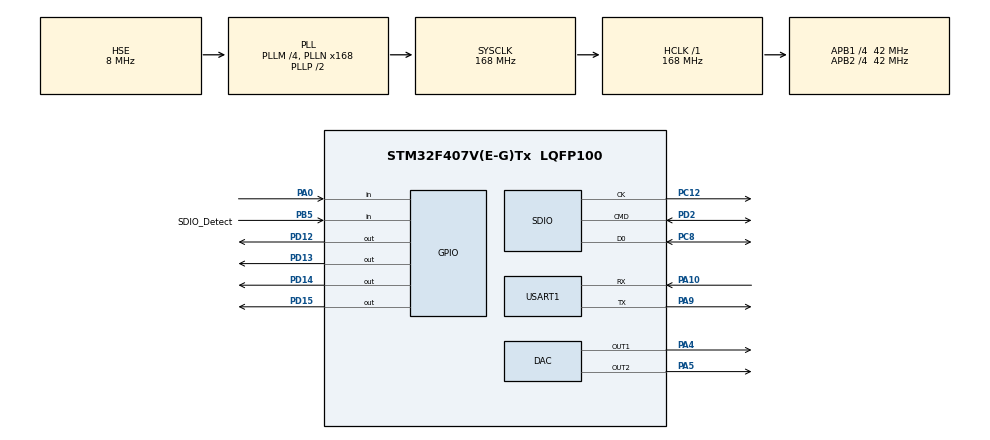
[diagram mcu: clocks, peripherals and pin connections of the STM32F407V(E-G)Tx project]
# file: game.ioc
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Dma.MEMTOMEM.0.Direction=DMA_MEMORY_TO_MEMORY
Dma.MEMTOMEM.0.FIFOMode=DMA_FIFOMODE_ENABLE
Dma.MEMTOMEM.0.FIFOThreshold=DMA_FIFO_THRESHOLD_FULL
Dma.MEMTOMEM.0.Instance=DMA2_Stream0
Dma.MEMTOMEM.0.MemBurst=DMA_MBURST_SINGLE
Dma.MEMTOMEM.0.MemDataAlignment=DMA_MDATAALIGN_BYTE
Dma.MEMTOMEM.0.MemInc=DMA_MINC_ENABLE
Dma.MEMTOMEM.0.Mode=DMA_NORMAL
Dma.MEMTOMEM.0.PeriphBurst=DMA_PBURST_SINGLE
Dma.MEMTOMEM.0.PeriphDataAlignment=DMA_PDATAALIGN_BYTE
Dma.MEMTOMEM.0.PeriphInc=DMA_PINC_ENABLE
Dma.MEMTOMEM.0.Priority=DMA_PRIORITY_MEDIUM
Dma.Request0=MEMTOMEM
Dma.Request1=SDIO_RX
Dma.Request2=SDIO_TX
Dma.SDIO_RX.1.Direction=DMA_PERIPH_TO_MEMORY
Dma.SDIO_RX.1.FIFOMode=DMA_FIFOMODE_ENABLE
Dma.SDIO_RX.1.FIFOThreshold=DMA_FIFO_THRESHOLD_FULL
Dma.SDIO_RX.1.Instance=DMA2_Stream3
Dma.SDIO_RX.1.MemBurst=DMA_MBURST_INC4
Dma.SDIO_RX.1.MemDataAlignment=DMA_MDATAALIGN_WORD
Dma.SDIO_RX.1.MemInc=DMA_MINC_ENABLE
Dma.SDIO_RX.1.Mode=DMA_PFCTRL
Dma.SDIO_RX.1.PeriphBurst=DMA_PBURST_INC4
Dma.SDIO_RX.1.PeriphDataAlignment=DMA_PDATAALIGN_WORD
Dma.SDIO_RX.1.PeriphInc=DMA_PINC_DISABLE
Dma.SDIO_RX.1.Priority=DMA_PRIORITY_LOW
Dma.SDIO_TX.2.Direction=DMA_MEMORY_TO_PERIPH
Dma.SDIO_TX.2.FIFOMode=DMA_FIFOMODE_ENABLE
Dma.SDIO_TX.2.FIFOThreshold=DMA_FIFO_THRESHOLD_FULL
Dma.SDIO_TX.2.Instance=DMA2_Stream6
Dma.SDIO_TX.2.MemBurst=DMA_MBURST_INC4
Dma.SDIO_TX.2.MemDataAlignment=DMA_MDATAALIGN_WORD
Dma.SDIO_TX.2.MemInc=DMA_MINC_ENABLE
Dma.SDIO_TX.2.Mode=DMA_PFCTRL
Dma.SDIO_TX.2.PeriphBurst=DMA_PBURST_INC4
Dma.SDIO_TX.2.PeriphDataAlignment=DMA_PDATAALIGN_WORD
Dma.SDIO_TX.2.PeriphInc=DMA_PINC_DISABLE
Dma.SDIO_TX.2.Priority=DMA_PRIORITY_LOW
FREERTOS.Tasks01=defaultTask,24,128,StartDefaultTask,Default,NULL,Dynamic,NULL,NULL
Mcu.Family=STM32F4
Mcu.Name=STM32F407V(E-G)Tx
Mcu.Package=LQFP100
NVIC.DMA2_Stream3_IRQn=true\:5\:0\:false\:false\:true\:true\:false\:true
NVIC.DMA2_Stream6_IRQn=true\:5\:0\:false\:false\:true\:true\:false\:true
NVIC.PriorityGroup=NVIC_PRIORITYGROUP_4
NVIC.SDIO_IRQn=true\:5\:0\:false\:false\:true\:true\:true\:true
NVIC.TIM6_DAC_IRQn=true\:0\:0\:false\:false\:true\:false\:true\:true
NVIC.TIM7_IRQn=true\:5\:0\:false\:false\:true\:true\:true\:true
NVIC.TimeBase=TIM6_DAC_IRQn
NVIC.TimeBaseIP=TIM6
PA0-WKUP.Signal=GPIO_Input
PA10.Mode=Asynchronous
PA10.Signal=USART1_RX
PA13.Mode=JTAG_5_pins
PA13.Signal=SYS_JTMS-SWDIO
PA14.Mode=JTAG_5_pins
PA14.Signal=SYS_JTCK-SWCLK
PA15.Mode=JTAG_5_pins
PA15.Signal=SYS_JTDI
PA4.Signal=COMP_DAC1_group
PA5.Signal=COMP_DAC2_group
PA9.Mode=Asynchronous
PA9.Signal=USART1_TX
PB3.Mode=JTAG_5_pins
PB3.Signal=SYS_JTDO-SWO
PB4.Mode=JTAG_5_pins
PB4.Signal=SYS_JTRST
PB5.GPIO_Label=SDIO_Detect
PB5.GPIO_PuPd=GPIO_PULLUP
PB5.Signal=GPIO_Input
PC12.Mode=SD_1_bit
PC12.Signal=SDIO_CK
PC8.Mode=SD_1_bit
PC8.Signal=SDIO_D0
PD12.Signal=GPIO_Output
PD13.Signal=GPIO_Output
PD14.Signal=GPIO_Output
PD15.Signal=GPIO_Output
PD2.Mode=SD_1_bit
PD2.Signal=SDIO_CMD
PH0-OSC_IN.Mode=HSE-External-Oscillator
PH0-OSC_IN.Signal=RCC_OSC_IN
PH1-OSC_OUT.Mode=HSE-External-Oscillator
PH1-OSC_OUT.Signal=RCC_OSC_OUT
ProjectManager.HeapSize=0x1000
ProjectManager.StackSize=0x2000
ProjectManager.TargetToolchain=Makefile
RCC.48MHZClocksFreq_Value=48000000
RCC.AHBFreq_Value=168000000
RCC.APB1CLKDivider=RCC_HCLK_DIV4
RCC.APB1Freq_Value=42000000
RCC.APB1TimFreq_Value=84000000
RCC.APB2CLKDivider=RCC_HCLK_DIV4
RCC.APB2Freq_Value=42000000
RCC.APB2TimFreq_Value=84000000
RCC.CortexFreq_Value=168000000
RCC.HCLKFreq_Value=168000000
RCC.HSE_VALUE=8000000
RCC.HSI_VALUE=16000000
RCC.LSE_VALUE=32768
RCC.PLLM=4
RCC.PLLN=168
RCC.PLLQ=7
RCC.PLLSourceVirtual=RCC_PLLSOURCE_HSE
RCC.SYSCLKFreq_VALUE=168000000
RCC.SYSCLKSource=RCC_SYSCLKSOURCE_PLLCLK
RCC.VCOOutputFreq_Value=336000000
SDIO.ClockBypass=SDIO_CLOCK_BYPASS_DISABLE
SDIO.ClockDiv=0
SDIO.HardwareFlowControl=SDIO_HARDWARE_FLOW_CONTROL_DISABLE
SH.COMP_DAC1_group.0=DAC_OUT1,DAC_OUT1
SH.COMP_DAC2_group.0=DAC_OUT2,DAC_OUT2
TIM7.AutoReloadPreload=TIM_AUTORELOAD_PRELOAD_ENABLE
TIM7.Period=158
TIM7.TIM_MasterOutputTrigger=TIM_TRGO_UPDATE
USART1.VirtualMode=VM_ASYNC
VP_FATFS_VS_SDIO.Mode=SDIO
VP_FREERTOS_VS_CMSIS_V2.Mode=CMSIS_V2
VP_RNG_VS_RNG.Mode=RNG_Activate
VP_SYS_VS_tim6.Mode=TIM6
VP_TIM7_VS_ClockSourceINT.Mode=Enable_Timer
board=custom

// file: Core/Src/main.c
/* USER CODE BEGIN Header */
/**
  ******************************************************************************
  * @file           : main.c
  * @brief          : Main program body
  ******************************************************************************
  * @attention
  *
  * <h2><center>&copy; Copyright (c) 2020 STMicroelectronics.
  * All rights reserved.</center></h2>
  *
  * This software component is licensed by ST under Ultimate Liberty license
  * SLA0044, the "License"; You may not use this file except in compliance with
  * the License. You may obtain a copy of the License at:
  *                             www.st.com/SLA0044
  *
  ******************************************************************************
  */
/* USER CODE END Header */

#include "main.h"
#include "cmsis_os.h"
#include "fatfs.h"

DAC_HandleTypeDef hdac;

RNG_HandleTypeDef hrng;

SD_HandleTypeDef hsd;
DMA_HandleTypeDef hdma_sdio_rx;
DMA_HandleTypeDef hdma_sdio_tx;

TIM_HandleTypeDef htim7;

UART_HandleTypeDef huart1;

DMA_HandleTypeDef hdma_memtomem_dma2_stream0;
/* Definitions for defaultTask */
osThreadId_t defaultTaskHandle;
const osThreadAttr_t defaultTask_attributes = {
  .name = "defaultTask",
  .priority = (osPriority_t) osPriorityNormal,
  .stack_size = 128 * 4
};
/* USER CODE BEGIN PV */
osThreadId_t fatfsTaskHandle;
/* USER CODE END PV */

void SystemClock_Config(void);
static void MX_GPIO_Init(void);
static void MX_DMA_Init(void);
static void MX_SDIO_SD_Init(void);
static void MX_USART1_UART_Init(void);
static void MX_DAC_Init(void);
static void MX_RNG_Init(void);
static void MX_TIM7_Init(void);
void StartDefaultTask(void *argument);

/* USER CODE BEGIN PFP */
void fatfsTask(void *argument);
/* USER CODE END PFP */

int main(void)
{

  /* MCU Configuration--------------------------------------------------------*/

  /* Reset of all peripherals, Initializes the Flash interface and the Systick. */
  HAL_Init();

  /* Configure the system clock */
  SystemClock_Config();

  /* Initialize all configured peripherals */
  MX_GPIO_Init();
  MX_DMA_Init();
  MX_SDIO_SD_Init();
  MX_USART1_UART_Init();
  MX_FATFS_Init();
  MX_DAC_Init();
  MX_RNG_Init();
  MX_TIM7_Init();

  /* Init scheduler */
  osKernelInitialize();

  /* Create the thread(s) */
  /* creation of defaultTask */
  defaultTaskHandle = osThreadNew(StartDefaultTask, NULL, &defaultTask_attributes);

  /* USER CODE BEGIN RTOS_THREADS */
  /* add threads, ... */
  fatfsTaskHandle = osThreadNew(fatfsTask, NULL, &defaultTask_attributes);
  /* USER CODE END RTOS_THREADS */

  /* Start scheduler */
  osKernelStart();

  /* We should never get here as control is now taken by the scheduler */
  /* Infinite loop */
  while (1)
  {

  }
}

void SystemClock_Config(void)
{
  RCC_OscInitTypeDef RCC_OscInitStruct = {0};
  RCC_ClkInitTypeDef RCC_ClkInitStruct = {0};

  /** Configure the main internal regulator output voltage
  */
  __HAL_RCC_PWR_CLK_ENABLE();
  __HAL_PWR_VOLTAGESCALING_CONFIG(PWR_REGULATOR_VOLTAGE_SCALE1);
  /** Initializes the CPU, AHB and APB busses clocks
  */
  RCC_OscInitStruct.OscillatorType = RCC_OSCILLATORTYPE_HSE;
  RCC_OscInitStruct.HSEState = RCC_HSE_ON;
  RCC_OscInitStruct.PLL.PLLState = RCC_PLL_ON;
  RCC_OscInitStruct.PLL.PLLSource = RCC_PLLSOURCE_HSE;
  RCC_OscInitStruct.PLL.PLLM = 4;
  RCC_OscInitStruct.PLL.PLLN = 168;
  RCC_OscInitStruct.PLL.PLLP = RCC_PLLP_DIV2;
  RCC_OscInitStruct.PLL.PLLQ = 7;
  if (HAL_RCC_OscConfig(&RCC_OscInitStruct) != HAL_OK)
  {
    Error_Handler();
  }
  /** Initializes the CPU, AHB and APB busses clocks
  */
  RCC_ClkInitStruct.ClockType = RCC_CLOCKTYPE_HCLK|RCC_CLOCKTYPE_SYSCLK
                              |RCC_CLOCKTYPE_PCLK1|RCC_CLOCKTYPE_PCLK2;
  RCC_ClkInitStruct.SYSCLKSource = RCC_SYSCLKSOURCE_PLLCLK;
  RCC_ClkInitStruct.AHBCLKDivider = RCC_SYSCLK_DIV1;
  RCC_ClkInitStruct.APB1CLKDivider = RCC_HCLK_DIV4;
  RCC_ClkInitStruct.APB2CLKDivider = RCC_HCLK_DIV4;

  if (HAL_RCC_ClockConfig(&RCC_ClkInitStruct, FLASH_LATENCY_5) != HAL_OK)
  {
    Error_Handler();
  }
}

static void MX_DAC_Init(void)
{

  DAC_ChannelConfTypeDef sConfig = {0};

  /** DAC Initialization
  */
  hdac.Instance = DAC;
  if (HAL_DAC_Init(&hdac) != HAL_OK)
  {
    Error_Handler();
  }
  /** DAC channel OUT1 config
  */
  sConfig.DAC_Trigger = DAC_TRIGGER_NONE;
  sConfig.DAC_OutputBuffer = DAC_OUTPUTBUFFER_ENABLE;
  if (HAL_DAC_ConfigChannel(&hdac, &sConfig, DAC_CHANNEL_1) != HAL_OK)
  {
    Error_Handler();
  }
  /** DAC channel OUT2 config
  */
  if (HAL_DAC_ConfigChannel(&hdac, &sConfig, DAC_CHANNEL_2) != HAL_OK)
  {
    Error_Handler();
  }

}

static void MX_RNG_Init(void)
{

  hrng.Instance = RNG;
  if (HAL_RNG_Init(&hrng) != HAL_OK)
  {
    Error_Handler();
  }

}

static void MX_SDIO_SD_Init(void)
{

  hsd.Instance = SDIO;
  hsd.Init.ClockEdge = SDIO_CLOCK_EDGE_RISING;
  hsd.Init.ClockBypass = SDIO_CLOCK_BYPASS_DISABLE;
  hsd.Init.ClockPowerSave = SDIO_CLOCK_POWER_SAVE_DISABLE;
  hsd.Init.BusWide = SDIO_BUS_WIDE_1B;
  hsd.Init.HardwareFlowControl = SDIO_HARDWARE_FLOW_CONTROL_DISABLE;
  hsd.Init.ClockDiv = 0;

}

static void MX_TIM7_Init(void)
{

  TIM_MasterConfigTypeDef sMasterConfig = {0};

  htim7.Instance = TIM7;
  htim7.Init.Prescaler = 0;
  htim7.Init.CounterMode = TIM_COUNTERMODE_UP;
  htim7.Init.Period = 158;
  htim7.Init.AutoReloadPreload = TIM_AUTORELOAD_PRELOAD_ENABLE;
  if (HAL_TIM_Base_Init(&htim7) != HAL_OK)
  {
    Error_Handler();
  }
  sMasterConfig.MasterOutputTrigger = TIM_TRGO_UPDATE;
  sMasterConfig.MasterSlaveMode = TIM_MASTERSLAVEMODE_DISABLE;
  if (HAL_TIMEx_MasterConfigSynchronization(&htim7, &sMasterConfig) != HAL_OK)
  {
    Error_Handler();
  }

}

static void MX_USART1_UART_Init(void)
{

  huart1.Instance = USART1;
  huart1.Init.BaudRate = 115200;
  huart1.Init.WordLength = UART_WORDLENGTH_8B;
  huart1.Init.StopBits = UART_STOPBITS_1;
  huart1.Init.Parity = UART_PARITY_NONE;
  huart1.Init.Mode = UART_MODE_TX_RX;
  huart1.Init.HwFlowCtl = UART_HWCONTROL_NONE;
  huart1.Init.OverSampling = UART_OVERSAMPLING_16;
  if (HAL_UART_Init(&huart1) != HAL_OK)
  {
    Error_Handler();
  }

}

static void MX_DMA_Init(void)
{

  /* DMA controller clock enable */
  __HAL_RCC_DMA2_CLK_ENABLE();

  /* Configure DMA request hdma_memtomem_dma2_stream0 on DMA2_Stream0 */
  hdma_memtomem_dma2_stream0.Instance = DMA2_Stream0;
  hdma_memtomem_dma2_stream0.Init.Channel = DMA_CHANNEL_0;
  hdma_memtomem_dma2_stream0.Init.Direction = DMA_MEMORY_TO_MEMORY;
  hdma_memtomem_dma2_stream0.Init.PeriphInc = DMA_PINC_ENABLE;
  hdma_memtomem_dma2_stream0.Init.MemInc = DMA_MINC_ENABLE;
  hdma_memtomem_dma2_stream0.Init.PeriphDataAlignment = DMA_PDATAALIGN_BYTE;
  hdma_memtomem_dma2_stream0.Init.MemDataAlignment = DMA_MDATAALIGN_BYTE;
  hdma_memtomem_dma2_stream0.Init.Mode = DMA_NORMAL;
  hdma_memtomem_dma2_stream0.Init.Priority = DMA_PRIORITY_MEDIUM;
  hdma_memtomem_dma2_stream0.Init.FIFOMode = DMA_FIFOMODE_ENABLE;
  hdma_memtomem_dma2_stream0.Init.FIFOThreshold = DMA_FIFO_THRESHOLD_FULL;
  hdma_memtomem_dma2_stream0.Init.MemBurst = DMA_MBURST_SINGLE;
  hdma_memtomem_dma2_stream0.Init.PeriphBurst = DMA_PBURST_SINGLE;
  if (HAL_DMA_Init(&hdma_memtomem_dma2_stream0) != HAL_OK)
  {
    Error_Handler( );
  }

  /* DMA interrupt init */
  /* DMA2_Stream3_IRQn interrupt configuration */
  HAL_NVIC_SetPriority(DMA2_Stream3_IRQn, 5, 0);
  HAL_NVIC_EnableIRQ(DMA2_Stream3_IRQn);
  /* DMA2_Stream6_IRQn interrupt configuration */
  HAL_NVIC_SetPriority(DMA2_Stream6_IRQn, 5, 0);
  HAL_NVIC_EnableIRQ(DMA2_Stream6_IRQn);

}

static void MX_GPIO_Init(void)
{
  GPIO_InitTypeDef GPIO_InitStruct = {0};

  /* GPIO Ports Clock Enable */
  __HAL_RCC_GPIOH_CLK_ENABLE();
  __HAL_RCC_GPIOA_CLK_ENABLE();
  __HAL_RCC_GPIOD_CLK_ENABLE();
  __HAL_RCC_GPIOC_CLK_ENABLE();
  __HAL_RCC_GPIOB_CLK_ENABLE();

  /*Configure GPIO pin Output Level */
  HAL_GPIO_WritePin(GPIOD, GPIO_PIN_12|GPIO_PIN_13|GPIO_PIN_14|GPIO_PIN_15, GPIO_PIN_RESET);

  /*Configure GPIO pin : PA0 */
  GPIO_InitStruct.Pin = GPIO_PIN_0;
  GPIO_InitStruct.Mode = GPIO_MODE_INPUT;
  GPIO_InitStruct.Pull = GPIO_NOPULL;
  HAL_GPIO_Init(GPIOA, &GPIO_InitStruct);

  /*Configure GPIO pins : PD12 PD13 PD14 PD15 */
  GPIO_InitStruct.Pin = GPIO_PIN_12|GPIO_PIN_13|GPIO_PIN_14|GPIO_PIN_15;
  GPIO_InitStruct.Mode = GPIO_MODE_OUTPUT_PP;
  GPIO_InitStruct.Pull = GPIO_NOPULL;
  GPIO_InitStruct.Speed = GPIO_SPEED_FREQ_LOW;
  HAL_GPIO_Init(GPIOD, &GPIO_InitStruct);

  /*Configure GPIO pin : SDIO_Detect_Pin */
  GPIO_InitStruct.Pin = SDIO_Detect_Pin;
  GPIO_InitStruct.Mode = GPIO_MODE_INPUT;
  GPIO_InitStruct.Pull = GPIO_PULLUP;
  HAL_GPIO_Init(SDIO_Detect_GPIO_Port, &GPIO_InitStruct);

}

/* USER CODE BEGIN 4 */
/**
  * @brief  Function implementing the fatfs thread.
  * @param  argument: Not used
  * @retval None
  */
void fatfsTask(void *argument)
{
  FRESULT res;
  UINT bytesWritten;
  char * writeString = "this is in the file";

  // Mount the fatfs file system
  f_mount(&SDFatFS, (TCHAR const*)SDPath, 0);

  /* Infinite loop */
  osDelay(100);

  // Try to open and write the file
  res = f_open(&SDFile, "truth.txt", FA_WRITE | FA_CREATE_ALWAYS);
  if (res != FR_OK) {
    for (uint8_t i = 0; i < res; i++) {
      HAL_GPIO_WritePin(GPIOD, GPIO_PIN_13, GPIO_PIN_SET);
      osDelay(200);
      HAL_GPIO_WritePin(GPIOD, GPIO_PIN_13, GPIO_PIN_RESET);
      osDelay(200);
    }
    while(1);
  }

  res = f_write(&SDFile, writeString, sizeof(writeString), &bytesWritten);
  if (res != FR_OK) {
    for (uint8_t i = 0; i < res; i++) {
      HAL_GPIO_WritePin(GPIOD, GPIO_PIN_14, GPIO_PIN_SET);
      osDelay(200);
      HAL_GPIO_WritePin(GPIOD, GPIO_PIN_14, GPIO_PIN_RESET);
      osDelay(200);
    }
    f_close(&SDFile);
    while(1);
  }

  // Write to the LED to indicate success
  HAL_GPIO_WritePin(GPIOD, GPIO_PIN_15, GPIO_PIN_SET);
  f_close(&SDFile);
  while(1);

}
/* USER CODE END 4 */

void StartDefaultTask(void *argument)
{
  /* USER CODE BEGIN 5 */
  /* Infinite loop */
  for(;;)
  {
    HAL_GPIO_TogglePin(GPIOD, GPIO_PIN_12);
    osDelay(100);
    // HAL_GPIO_TogglePin(GPIOD, GPIO_PIN_13);
    // osDelay(50);
  }
  /* USER CODE END 5 */
}

 /**
  * @brief  Period elapsed callback in non blocking mode
  * @note   This function is called  when TIM6 interrupt took place, inside
  * HAL_TIM_IRQHandler(). It makes a direct call to HAL_IncTick() to increment
  * a global variable "uwTick" used as application time base.
  * @param  htim : TIM handle
  * @retval None
  */
void HAL_TIM_PeriodElapsedCallback(TIM_HandleTypeDef *htim)
{
  if (htim->Instance == TIM6) {
    HAL_IncTick();
  }
}

void Error_Handler(void)
{
}

/************************ (C) COPYRIGHT STMicroelectronics *****END OF FILE****/
